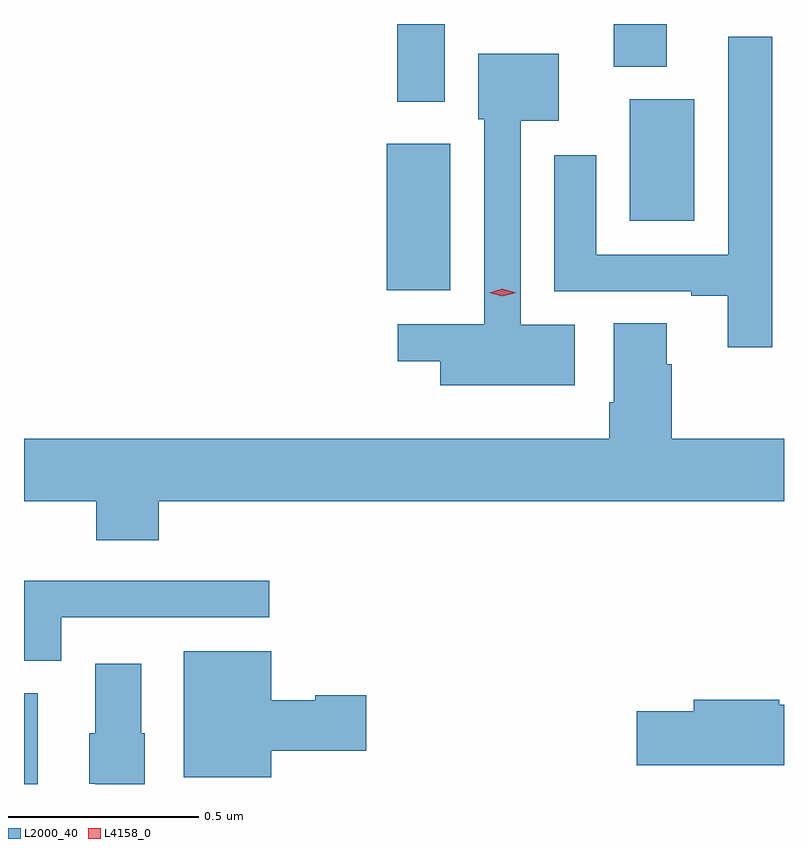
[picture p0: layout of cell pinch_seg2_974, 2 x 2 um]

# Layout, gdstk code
import gdstk
lib = gdstk.Library(unit=1e-6, precision=1e-09)
def R(c, l, rs):  # rectangles x0, y0, x1, y1
    for r in rs: c.add(gdstk.rectangle(r[:2], r[2:], *l))
def P(c, l, *ps):  # polygons
    for p in ps: c.add(gdstk.Polygon(p, *l))
L2000_40 = (2000, 40)
L4158_0 = (4158, 0)

pinch_seg2_974 = lib.new_cell('pinch_seg2_974')
R(pinch_seg2_974, L2000_40, [(337.327,633.572,337.363,633.811), (338.282,634.871,338.449,635.257), (338.921,635.054,339.091,635.374), (338.309,635.367,338.434,635.572), (338.879,635.459,339.019,635.572)])
P(pinch_seg2_974, L2000_40, [(339.296,635.539),(339.18,635.539),(339.18,634.965),(338.833,634.965),(338.833,635.227),(338.723,635.227),(338.723,634.869),(339.083,634.869),(339.083,634.857),(339.179,634.857),(339.179,634.722),(339.296,634.722)],
  [(338.776,634.78),(338.634,634.78),(338.634,635.318),(338.734,635.318),(338.734,635.494),(338.522,635.494),(338.522,635.322),(338.538,635.322),(338.538,634.782),(338.31,634.782),(338.31,634.685),(338.423,634.685),(338.423,634.622),(338.776,634.622)],
  [(337.682,634.316),(339.327,634.316),(339.327,634.48),(339.032,634.48),(339.032,634.676),(339.019,634.676),(339.019,634.784),(338.879,634.784),(338.879,634.576),(338.867,634.576),(338.867,634.48),(337.327,634.48),(337.327,634.316),(337.517,634.316),(337.517,634.214),(337.682,634.214)],
  [(337.425,634.011),(337.972,634.011),(337.972,634.107),(337.328,634.107),(337.328,633.896),(337.425,633.896)],
  [(337.978,633.659),(338.227,633.659),(338.227,633.806),(338.094,633.806),(338.094,633.793),(337.978,633.793),(337.978,633.922),(337.748,633.922),(337.748,633.59),(337.978,633.59)],
  [(337.645,633.705),(337.636,633.705),(337.636,633.889),(337.514,633.889),(337.514,633.705),(337.499,633.705),(337.499,633.573),(337.514,633.573),(337.514,633.572),(337.645,633.572)],
  [(339.327,633.781),(339.314,633.781),(339.314,633.794),(339.089,633.794),(339.089,633.764),(338.94,633.764),(338.94,633.622),(339.327,633.622)])
P(pinch_seg2_974, L4158_0, [(338.586,634.855),(338.551,634.865),(338.55,634.865),(338.551,634.865),(338.586,634.875),(338.622,634.865),(338.622,634.865),(338.622,634.865)])

lib.write_gds('pinch_seg2_974.gds')
